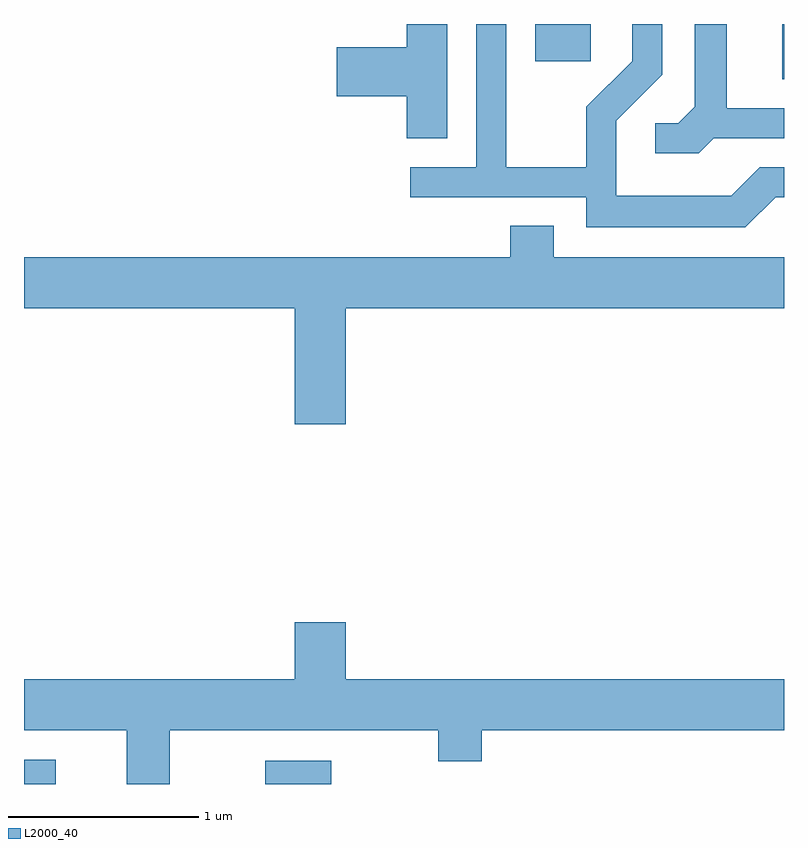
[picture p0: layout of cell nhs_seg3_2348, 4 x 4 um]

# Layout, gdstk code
import gdstk
lib = gdstk.Library(unit=1e-6, precision=1e-09)
def R(c, l, rs):  # rectangles x0, y0, x1, y1
    for r in rs: c.add(gdstk.rectangle(r[:2], r[2:], *l))
def P(c, l, *ps):  # polygons
    for p in ps: c.add(gdstk.Polygon(p, *l))
L2000_40 = (2000, 40)

nhs_seg3_2348 = lib.new_cell('nhs_seg3_2348')
R(nhs_seg3_2348, L2000_40, [(253.611,1187.892,253.778,1188.019), (254.881,1187.892,255.228,1188.014), (257.601,1191.601,257.611,1191.892), (256.301,1191.696,256.594,1191.892)])
P(nhs_seg3_2348, L2000_40, [(255.839,1191.892),(255.626,1191.892),(255.626,1191.769),(255.256,1191.769),(255.256,1191.511),(255.626,1191.511),(255.626,1191.291),(255.839,1191.291)],
  [(257.567,1190.981),(257.611,1190.981),(257.611,1191.139),(257.484,1191.139),(257.334,1190.989),(256.729,1190.989),(256.729,1191.384),(256.969,1191.624),(256.969,1191.892),(256.811,1191.892),(256.811,1191.697),(256.571,1191.457),(256.571,1191.139),(256.149,1191.139),(256.149,1191.892),(255.991,1191.892),(255.991,1191.139),(255.643,1191.139),(255.643,1190.981),(256.571,1190.981),(256.571,1190.821),(257.407,1190.821)],
  [(257.242,1191.291),(257.611,1191.291),(257.611,1191.449),(257.309,1191.449),(257.309,1191.892),(257.141,1191.892),(257.141,1191.457),(257.054,1191.369),(256.933,1191.369),(256.933,1191.211),(257.162,1191.211)],
  [(255.304,1190.396),(257.611,1190.396),(257.611,1190.664),(256.399,1190.664),(256.399,1190.829),(256.171,1190.829),(256.171,1190.664),(253.611,1190.664),(253.611,1190.396),(255.036,1190.396),(255.036,1189.786),(255.304,1189.786)],
  [(254.379,1188.176),(255.791,1188.176),(255.791,1188.011),(256.019,1188.011),(256.019,1188.176),(257.611,1188.176),(257.611,1188.444),(255.304,1188.444),(255.304,1188.744),(255.036,1188.744),(255.036,1188.444),(253.611,1188.444),(253.611,1188.176),(254.151,1188.176),(254.151,1187.892),(254.379,1187.892)])

lib.write_gds('nhs_seg3_2348.gds')
